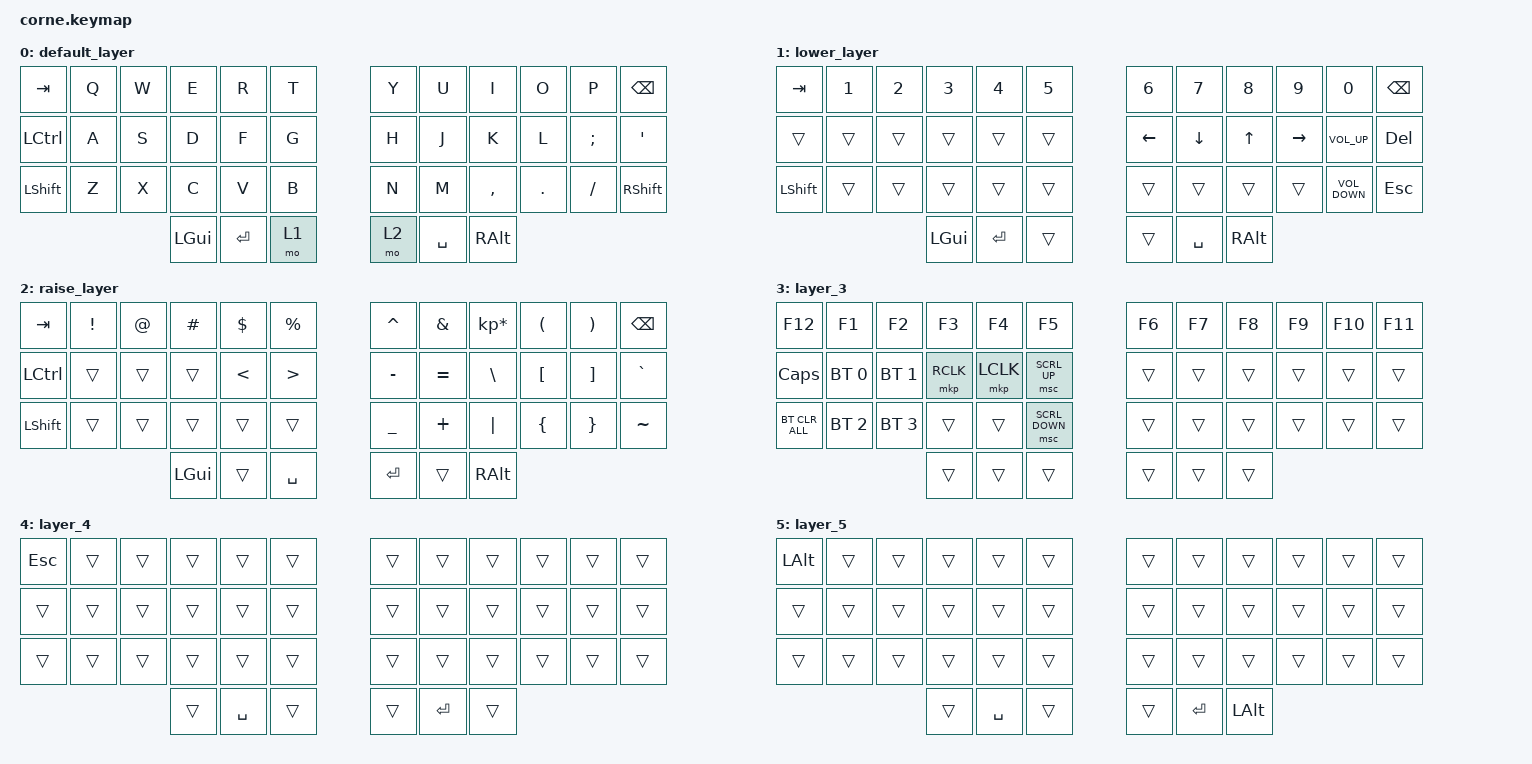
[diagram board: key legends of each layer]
/*
 * Copyright (c) 2020 The ZMK Contributors
 *
 * SPDX-License-Identifier: MIT
 */

#include <behaviors.dtsi>
#include <dt-bindings/zmk/bt.h>
#include <dt-bindings/zmk/keys.h>
#include <dt-bindings/zmk/pointing.h>

/ {
    combos {
        compatible = "zmk,combos";

        new_combo {
            bindings = <&mo 3>;
            key-positions = <38 39>;
        };

        Toggle_Gaming {
            bindings = <&tog 4>;
            key-positions = <39 38 4>;
        };

        Toggle_Unity_Layer {
            bindings = <&tog 5>;
            key-positions = <38 39 5>;
        };
    };

    keymap {
        compatible = "zmk,keymap";

        default_layer {
            // -----------------------------------------------------------------------------------------
            // |  TAB |  Q  |  W  |  E  |  R  |  T  |   |  Y  |  U   |  I  |  O  |  P  | BKSP |
            // | CTRL |  A  |  S  |  D  |  F  |  G  |   |  H  |  J   |  K  |  L  |  ;  |  '   |
            // | SHFT |  Z  |  X  |  C  |  V  |  B  |   |  N  |  M   |  ,  |  .  |  /  | ESC  |
            //                    | GUI | LWR | SPC |   | ENT | RSE  | ALT |

            bindings = <
&kp TAB    &kp Q  &kp W  &kp E     &kp R      &kp T    &kp Y  &kp U      &kp I      &kp O    &kp P     &kp BSPC
&kp LCTRL  &kp A  &kp S  &kp D     &kp F      &kp G    &kp H  &kp J      &kp K      &kp L    &kp SEMI  &kp SQT
&kp LSHFT  &kp Z  &kp X  &kp C     &kp V      &kp B    &kp N  &kp M      &kp COMMA  &kp DOT  &kp FSLH  &kp RIGHT_SHIFT
                         &kp LGUI  &kp ENTER  &mo 1    &mo 2  &kp SPACE  &kp RALT
            >;
        };

        lower_layer {
            // -----------------------------------------------------------------------------------------
            // |  TAB |  1  |  2  |  3  |  4  |  5  |   |  6  |  7  |  8  |  9  |  0  | BKSP |
            // | BTCLR| BT1 | BT2 | BT3 | BT4 | BT5 |   | LFT | DWN |  UP | RGT |     |      |
            // | SHFT |     |     |     |     |     |   |     |     |     |     |     |      |
            //                    | GUI |     | SPC |   | ENT |     | ALT |

            bindings = <
&kp TAB    &kp N1  &kp N2  &kp N3    &kp N4     &kp N5    &kp N6    &kp N7     &kp N8    &kp N9     &kp N0             &kp BSPC
&trans     &trans  &trans  &trans    &trans     &trans    &kp LEFT  &kp DOWN   &kp UP    &kp RIGHT  &kp C_VOLUME_UP    &kp DEL
&kp LSHFT  &trans  &trans  &trans    &trans     &trans    &trans    &trans     &trans    &trans     &kp C_VOLUME_DOWN  &kp ESC
                           &kp LGUI  &kp ENTER  &trans    &trans    &kp SPACE  &kp RALT
            >;
        };

        raise_layer {
            // -----------------------------------------------------------------------------------------
            // |  TAB |  !  |  @  |  #  |  $  |  %  |   |  ^  |  &  |  *  |  (  |  )  | BKSP |
            // | CTRL |     |     |     |     |     |   |  -  |  =  |  [  |  ]  |  \  |  `   |
            // | SHFT |     |     |     |     |     |   |  _  |  +  |  {  |  }  | "|" |  ~   |
            //                    | GUI |     | SPC |   | ENT |     | ALT |

            bindings = <
&kp TAB    &kp EXCL  &kp AT  &kp HASH  &kp DLLR       &kp PRCNT           &kp CARET  &kp AMPS   &kp KP_MULTIPLY  &kp LPAR  &kp RPAR           &kp BSPC
&kp LCTRL  &trans    &trans  &trans    &kp LESS_THAN  &kp GREATER_THAN    &kp MINUS  &kp EQUAL  &kp BACKSLASH    &kp LBKT  &kp RIGHT_BRACKET  &kp GRAVE
&kp LSHFT  &trans    &trans  &trans    &trans         &trans              &kp UNDER  &kp PLUS   &kp PIPE         &kp LBRC  &kp RIGHT_BRACE    &kp TILDE
                             &kp LGUI  &trans         &kp SPACE           &kp RET    &trans     &kp RALT
            >;
        };

        layer_3 {
            bindings = <
&kp F12         &kp F1        &kp F2        &kp F3     &kp F4     &kp F5            &kp F6  &kp F7  &kp F8  &kp F9  &kp F10  &kp F11
&kp CAPSLOCK    &bt BT_SEL 0  &bt BT_SEL 1  &mkp RCLK  &mkp LCLK  &msc SCRL_UP      &trans  &trans  &trans  &trans  &trans   &trans
&bt BT_CLR_ALL  &bt BT_SEL 2  &bt BT_SEL 3  &trans     &trans     &msc SCRL_DOWN    &trans  &trans  &trans  &trans  &trans   &trans
                                            &trans     &trans     &trans            &trans  &trans  &trans
            >;
        };

        layer_4 {
            bindings = <
&kp ESC  &trans  &trans  &trans  &trans     &trans    &trans  &trans      &trans  &trans  &trans  &trans
&trans   &trans  &trans  &trans  &trans     &trans    &trans  &trans      &trans  &trans  &trans  &trans
&trans   &trans  &trans  &trans  &trans     &trans    &trans  &trans      &trans  &trans  &trans  &trans
                         &trans  &kp SPACE  &trans    &trans  &kp RETURN  &trans
            >;
        };

        layer_5 {
            bindings = <
&kp LEFT_ALT  &trans  &trans  &trans  &trans     &trans    &trans  &trans     &trans        &trans  &trans  &trans
&trans        &trans  &trans  &trans  &trans     &trans    &trans  &trans     &trans        &trans  &trans  &trans
&trans        &trans  &trans  &trans  &trans     &trans    &trans  &trans     &trans        &trans  &trans  &trans
                              &trans  &kp SPACE  &trans    &trans  &kp ENTER  &kp LEFT_ALT
            >;
        };
    };
};
